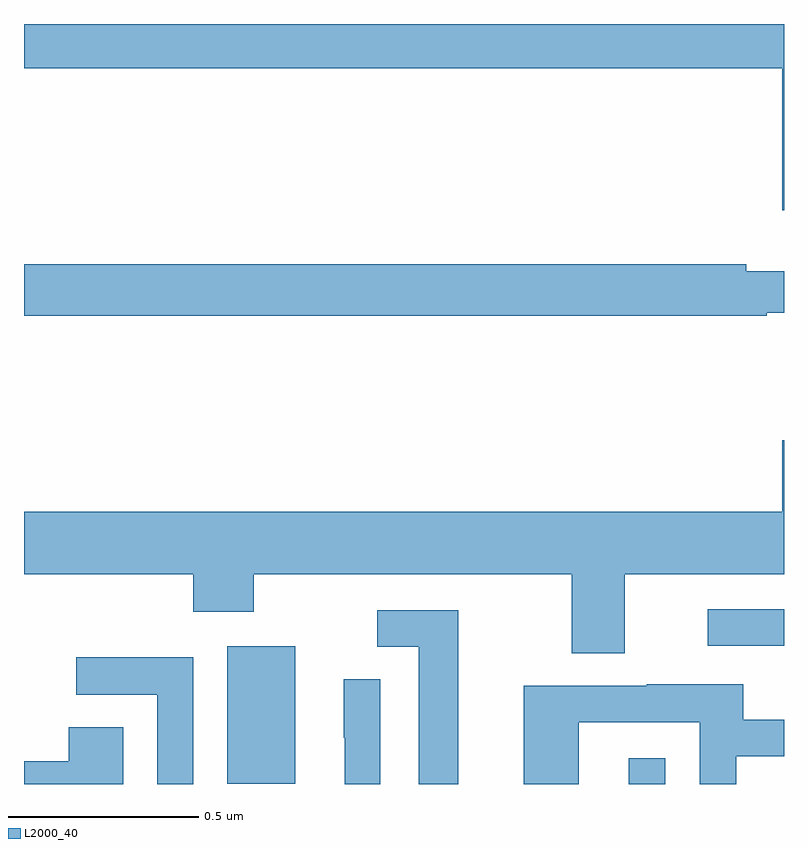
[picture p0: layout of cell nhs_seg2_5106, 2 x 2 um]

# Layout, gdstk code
import gdstk
lib = gdstk.Library(unit=1e-6, precision=1e-09)
def R(c, l, rs):  # rectangles x0, y0, x1, y1
    for r in rs: c.add(gdstk.rectangle(r[:2], r[2:], *l))
def P(c, l, *ps):  # polygons
    for p in ps: c.add(gdstk.Polygon(p, *l))
L2000_40 = (2000, 40)

nhs_seg2_5106 = lib.new_cell('nhs_seg2_5106')
R(nhs_seg2_5106, L2000_40, [(176.591,597.8,176.688,597.868), (175.535,597.801,175.714,598.162), (176.799,598.164,177,598.26)])
P(nhs_seg2_5106, L2000_40, [(177,599.8),(175,599.8),(175,599.684),(176.996,599.684),(176.996,599.31),(177,599.31)],
  [(176.954,599.04),(177,599.04),(177,599.149),(176.9,599.149),(176.9,599.168),(175,599.168),(175,599.032),(176.954,599.032)],
  [(176.581,598.352),(177,598.352),(177,598.705),(176.996,598.705),(176.996,598.516),(175,598.516),(175,598.352),(175.445,598.352),(175.445,598.253),(175.605,598.253),(175.605,598.352),(176.441,598.352),(176.441,598.144),(176.581,598.144)],
  [(176.143,598.257),(175.929,598.257),(175.929,598.161),(176.039,598.161),(176.039,597.8),(176.143,597.8)],
  [(175.446,598.134),(175.137,598.134),(175.137,598.035),(175.35,598.035),(175.35,597.8),(175.446,597.8)],
  [(175.938,598.076),(175.842,598.076),(175.842,597.922),(175.844,597.922),(175.844,597.8),(175.938,597.8)],
  [(176.46,597.963),(176.778,597.963),(176.778,597.8),(176.874,597.8),(176.874,597.873),(177,597.873),(177,597.969),(176.893,597.969),(176.893,598.063),(176.639,598.063),(176.639,598.059),(176.315,598.059),(176.315,597.8),(176.46,597.8)],
  [(175.261,597.95),(175.118,597.95),(175.118,597.86),(175,597.86),(175,597.8),(175.261,597.8)])

lib.write_gds('nhs_seg2_5106.gds')
